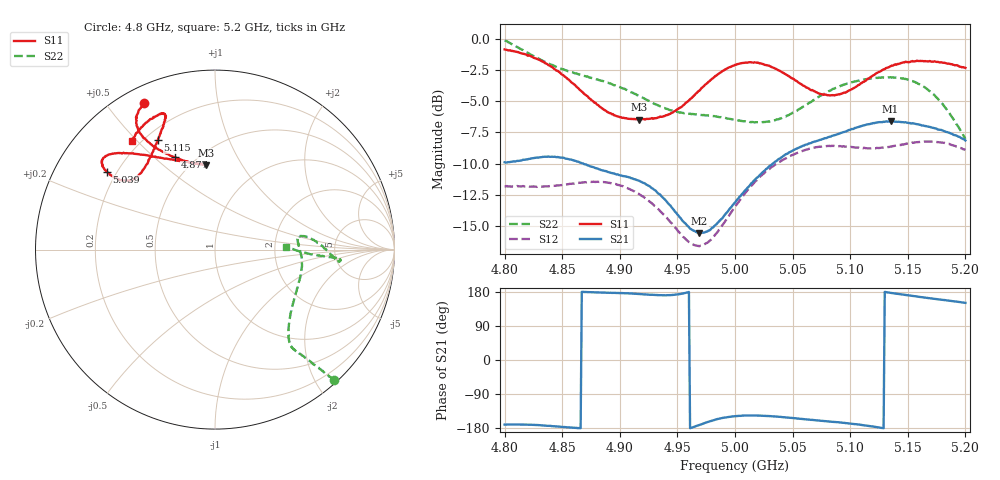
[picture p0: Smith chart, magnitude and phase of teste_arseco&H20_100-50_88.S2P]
! Network Analyzer HP8722D
! Hewlett-Packard
! Data name: Linha & Wilkinson
! Saver's name: Rodrigo Anjos
! Comments: Teste da utilização de aquisição
! continua pelo VNA HP8722D
! Time and date: 6/5/2025 13:18
!  Frequency  S11  S21  S12  S22
# HZ  S  MA R 50
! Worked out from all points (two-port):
!   401 points, 4.8 GHz to 5.2 GHz, reference 50 ohm
!   highest |S21| = -6.60 dB at 5.135 GHz (marker M1); lowest = -15.5 dB at 4.969 GHz (marker M2)
!   |S21| within 3 dB of the highest: 4.822 GHz to 4.853 GHz (30.35 MHz wide, 0.627 % of centre); 5.039 GHz to end of sweep
!   lowest |S11| = -6.5 dB at 4.917 GHz (marker M3), VSWR 2.81, Z = 29.1 + j35.5 ohm
!   |S11| at or under -10 dB: nowhere
!   |S22| runs from -8.0 to -0.1 dB; largest |S21 - S12| = 0.83
!   S11 on the Smith chart (normalised r, x): 4.8 GHz: 0.07, +0.63; 4.877 GHz: 0.39, +0.59; 5.039 GHz: 0.16, +0.31; 5.115 GHz: 0.25, +0.58; 5.2 GHz: 0.17, +0.48
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4.8e9  0.9059 115.8  0.3204 -170.5  0.2569 -86.1  0.984 -47.5
4.832e9  0.8143 122.3  0.3356 -172.2  0.2561 -77.6  0.821 -49.5
4.847e9  0.7376 122.6  0.3357 -175.7  0.2588 -72.6  0.7666 -50.5
4.867e9  0.6149 117.9  0.3176 179.8  0.2657 -67.4  0.7154 -51.5
4.877e9  0.561 113.3  0.3063 178.6  0.2681 -66.3  0.6946 -51.9
4.9e9  0.4854 101.1  0.2843 176.8  0.2592 -66.6  0.6405 -50.3
4.917e9  0.4749 96.2  0.2699 174.1  0.2386 -68.4  0.5893 -45.8
4.934e9  0.4848 99.3  0.2393 171.1  0.2069 -69.5  0.5388 -37.5
4.948e9  0.5134 107.8  0.2029 172.2  0.1757 -66.6  0.5116 -28.2
4.969e9  0.619 123.3  0.167 -171.4  0.1479 -47.9  0.4975 -15.2
4.981e9  0.696 130.0  0.1758 -159.2  0.1606 -34.0  0.4903 -8.8
5e9  0.7857 137.3  0.2211 -148.3  0.2125 -21.5  0.4728 -0.4
5.019e9  0.8011 141.8  0.2777 -146.7  0.2717 -18.3  0.4633 5.8
5.039e9  0.7431 144.2  0.3312 -150.0  0.3222 -18.4  0.4795 8.9
5.067e9  0.6234 141.9  0.3851 -158.0  0.3659 -20.7  0.563 4.8
5.088e9  0.596 132.9  0.4138 -163.9  0.3717 -23.8  0.6372 -1.7
5.115e9  0.6888 117.6  0.4545 -173.5  0.3642 -26.8  0.6909 -5.4
5.134e9  0.7709 111.1  0.4657 177.8  0.3689 -28.8  0.6999 -4.9
5.135e9  0.7757 111.2  0.4679 177.4  0.3704 -28.9  0.7017 -4.7
5.164e9  0.8125 113.2  0.4485 165.0  0.3876 -36.0  0.6422 -3.6
5.181e9  0.801 119.4  0.4279 158.4  0.3833 -41.3  0.5417 -2.8
5.2e9  0.764 127.4  0.3917 150.8  0.3592 -46.3  0.397 2.5
